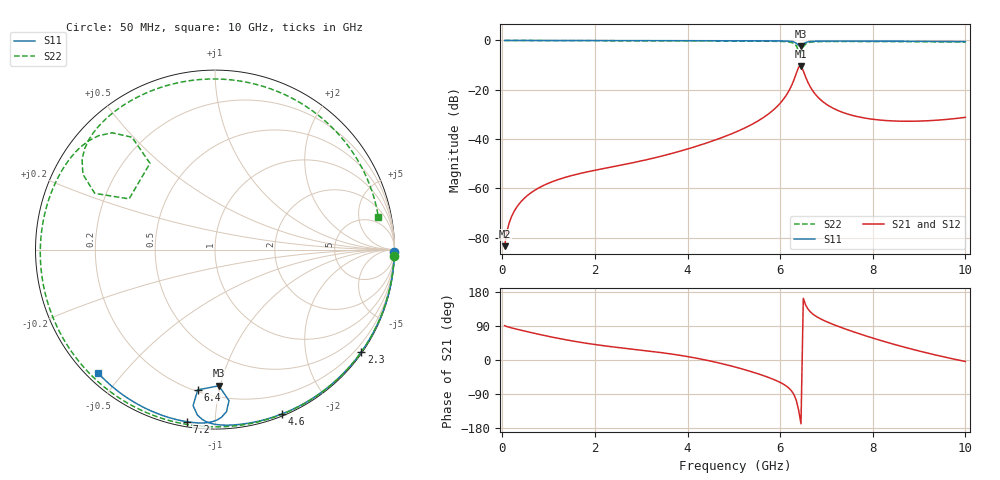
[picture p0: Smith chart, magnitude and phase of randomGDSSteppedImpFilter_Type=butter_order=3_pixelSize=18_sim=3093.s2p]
! freq	dB(S11)	phase(S11)	dB(S12)	phase(S12)
!  dB(S21)	phase(S21)	dB(S22)	phase(S22)
!S-par simulation data
#  GHz  S  DB  R 50
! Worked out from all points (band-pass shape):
!   200 points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, 50 MHz to 10 GHz, reference 50 ohm
!   highest |S21| = -10.36 dB at 6.45 GHz (marker M1); lowest = -83.4 dB at 50 MHz (marker M2)
!   |S21| within 3 dB of the highest: 6.348 GHz to 6.52 GHz (172.2 MHz wide, 2.68 % of centre)
!   lowest |S11| = -2.4 dB at 6.45 GHz (marker M3), VSWR 7.31, Z = 13.8 - j49.5 ohm
!   |S11| at or under -10 dB: nowhere
!   |S22| runs from -5.1 to 0.0 dB; largest |S21 - S12| = 0
!   S11 on the Smith chart (normalised r, x): 50 MHz: open; 2.3 GHz: 0.03, -3.18; 4.6 GHz: 0.02, -1.49; 6.4 GHz: 0.21, -0.86; 7.2 GHz: 0.02, -0.85; 10 GHz: 0.03, -0.43
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0.05  -0.01 -0.8  -83.38 90.6  -83.38 90.6  -0.00 -2.2
0.25  -0.01 -3.9  -69.47 83.2  -69.47 83.2  -0.02 -10.5
0.55  -0.01 -8.5  -62.74 74.4  -62.74 74.4  -0.03 -23.0
1.05  -0.02 -16.1  -57.46 61.1  -57.46 61.1  -0.05 -43.4
1.75  -0.03 -26.7  -53.62 45.4  -53.62 45.4  -0.09 -70.6
2.3  -0.04 -34.9  -51.50 35.9  -51.50 35.9  -0.11 -90.6
3.4  -0.07 -50.9  -47.07 20.0  -47.07 20.0  -0.15 -127.6
4.6  -0.10 -67.8  -40.34 -5.6  -40.34 -5.6  -0.20 -164.9
5.05  -0.11 -74.0  -37.06 -19.3  -37.06 -19.3  -0.23 -178.8
5.95  -0.18 -87.2  -26.46 -56.2  -26.46 -56.2  -0.37 151.0
6.15  -0.27 -91.3  -21.69 -70.3  -21.69 -70.3  -0.54 142.0
6.3  -0.66 -96.1  -15.89 -91.8  -15.89 -91.8  -1.24 131.3
6.4  -2.08 -97.0  -10.81 -132.8  -10.81 -132.8  -4.41 127.0
6.45  -2.39 -88.4  -10.36 -168.4  -10.36 -168.4  -5.10 149.4
6.5  -1.46 -84.7  -12.34 162.7  -12.34 162.7  -2.62 154.9
6.55  -0.87 -86.0  -14.83 145.4  -14.83 145.4  -1.44 150.3
6.7  -0.38 -90.6  -20.31 121.8  -20.31 121.8  -0.61 139.0
7.2  -0.25 -99.2  -27.99 91.2  -27.99 91.2  -0.42 117.7
7.8  -0.27 -107.1  -31.37 65.6  -31.37 65.6  -0.43 95.6
8.35  -0.31 -113.9  -32.54 45.1  -32.54 45.1  -0.46 75.0
9.25  -0.39 -124.7  -32.49 16.3  -32.49 16.3  -0.53 40.2
10  -0.47 -133.5  -31.17 -4.0  -31.17 -4.0  -0.65 11.2
